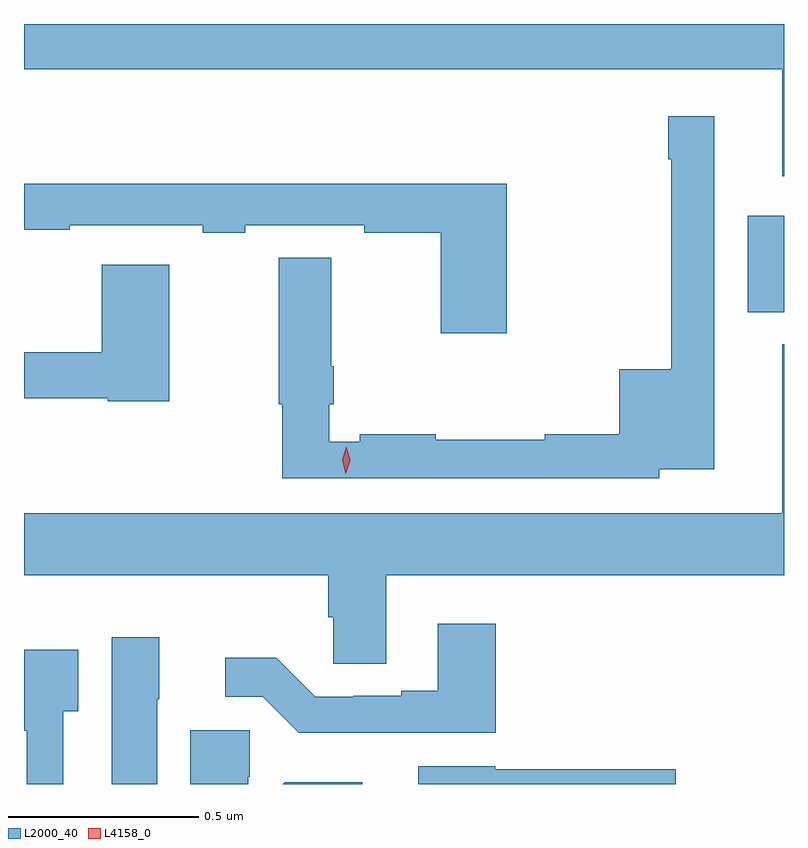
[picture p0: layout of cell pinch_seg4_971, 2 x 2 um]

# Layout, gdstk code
import gdstk
lib = gdstk.Library(unit=1e-6, precision=1e-09)
def R(c, l, rs):  # rectangles x0, y0, x1, y1
    for r in rs: c.add(gdstk.rectangle(r[:2], r[2:], *l))
def P(c, l, *ps):  # polygons
    for p in ps: c.add(gdstk.Polygon(p, *l))
L2000_40 = (2000, 40)
L4158_0 = (4158, 0)

pinch_seg4_971 = lib.new_cell('pinch_seg4_971')
R(pinch_seg4_971, L2000_40, [(702.053,760.217,702.148,760.471)])
P(pinch_seg4_971, L2000_40, [(702.148,760.975),(700.148,760.975),(700.148,760.856),(702.143,760.856),(702.143,760.575),(702.148,760.575)],
  [(701.82,759.803),(701.965,759.803),(701.965,760.732),(701.844,760.732),(701.844,760.619),(701.851,760.619),(701.851,760.066),(701.714,760.066),(701.714,759.896),(701.518,759.896),(701.518,759.881),(701.232,759.881),(701.232,759.896),(701.032,759.896),(701.032,759.876),(700.951,759.876),(700.951,759.975),(700.963,759.975),(700.963,760.075),(700.956,760.075),(700.956,760.36),(700.819,760.36),(700.819,759.975),(700.827,759.975),(700.827,759.78),(701.82,759.78)],
  [(701.418,760.555),(700.148,760.555),(700.148,760.434),(700.268,760.434),(700.268,760.446),(700.618,760.446),(700.618,760.426),(700.73,760.426),(700.73,760.446),(701.044,760.446),(701.044,760.426),(701.245,760.426),(701.245,760.161),(701.418,760.161)],
  [(700.53,760.342),(700.352,760.342),(700.352,760.111),(700.148,760.111),(700.148,759.99),(700.368,759.99),(700.368,759.982),(700.53,759.982)],
  [(701.101,759.524),(702.148,759.524),(702.148,760.132),(702.143,760.132),(702.143,759.688),(700.148,759.688),(700.148,759.524),(700.949,759.524),(700.949,759.414),(700.962,759.414),(700.962,759.292),(701.101,759.292)],
  [(701.39,759.397),(701.237,759.397),(701.237,759.22),(701.141,759.22),(701.141,759.207),(701.014,759.207),(701.014,759.204),(700.914,759.204),(700.812,759.307),(700.677,759.307),(700.677,759.204),(700.776,759.204),(700.871,759.11),(701.39,759.11)],
  [(700.498,759.198),(700.504,759.198),(700.504,759.361),(700.379,759.361),(700.379,758.975),(700.498,758.975)],
  [(700.251,759.167),(700.291,759.167),(700.291,759.328),(700.148,759.328),(700.148,759.115),(700.155,759.115),(700.155,758.975),(700.251,758.975)],
  [(700.738,758.994),(700.742,758.994),(700.742,759.117),(700.586,759.117),(700.586,758.975),(700.738,758.975)],
  [(701.863,759.014),(701.388,759.014),(701.388,759.022),(701.186,759.022),(701.186,758.975),(701.863,758.975)],
  [(701.038,758.98),(700.834,758.98),(700.829,758.975),(701.038,758.975)])
P(pinch_seg4_971, L4158_0, [(700.995,759.791),(700.995,759.791),(700.986,759.827),(700.996,759.863),(700.996,759.863),(700.996,759.863),(701.006,759.827),(700.995,759.791)])

lib.write_gds('pinch_seg4_971.gds')
